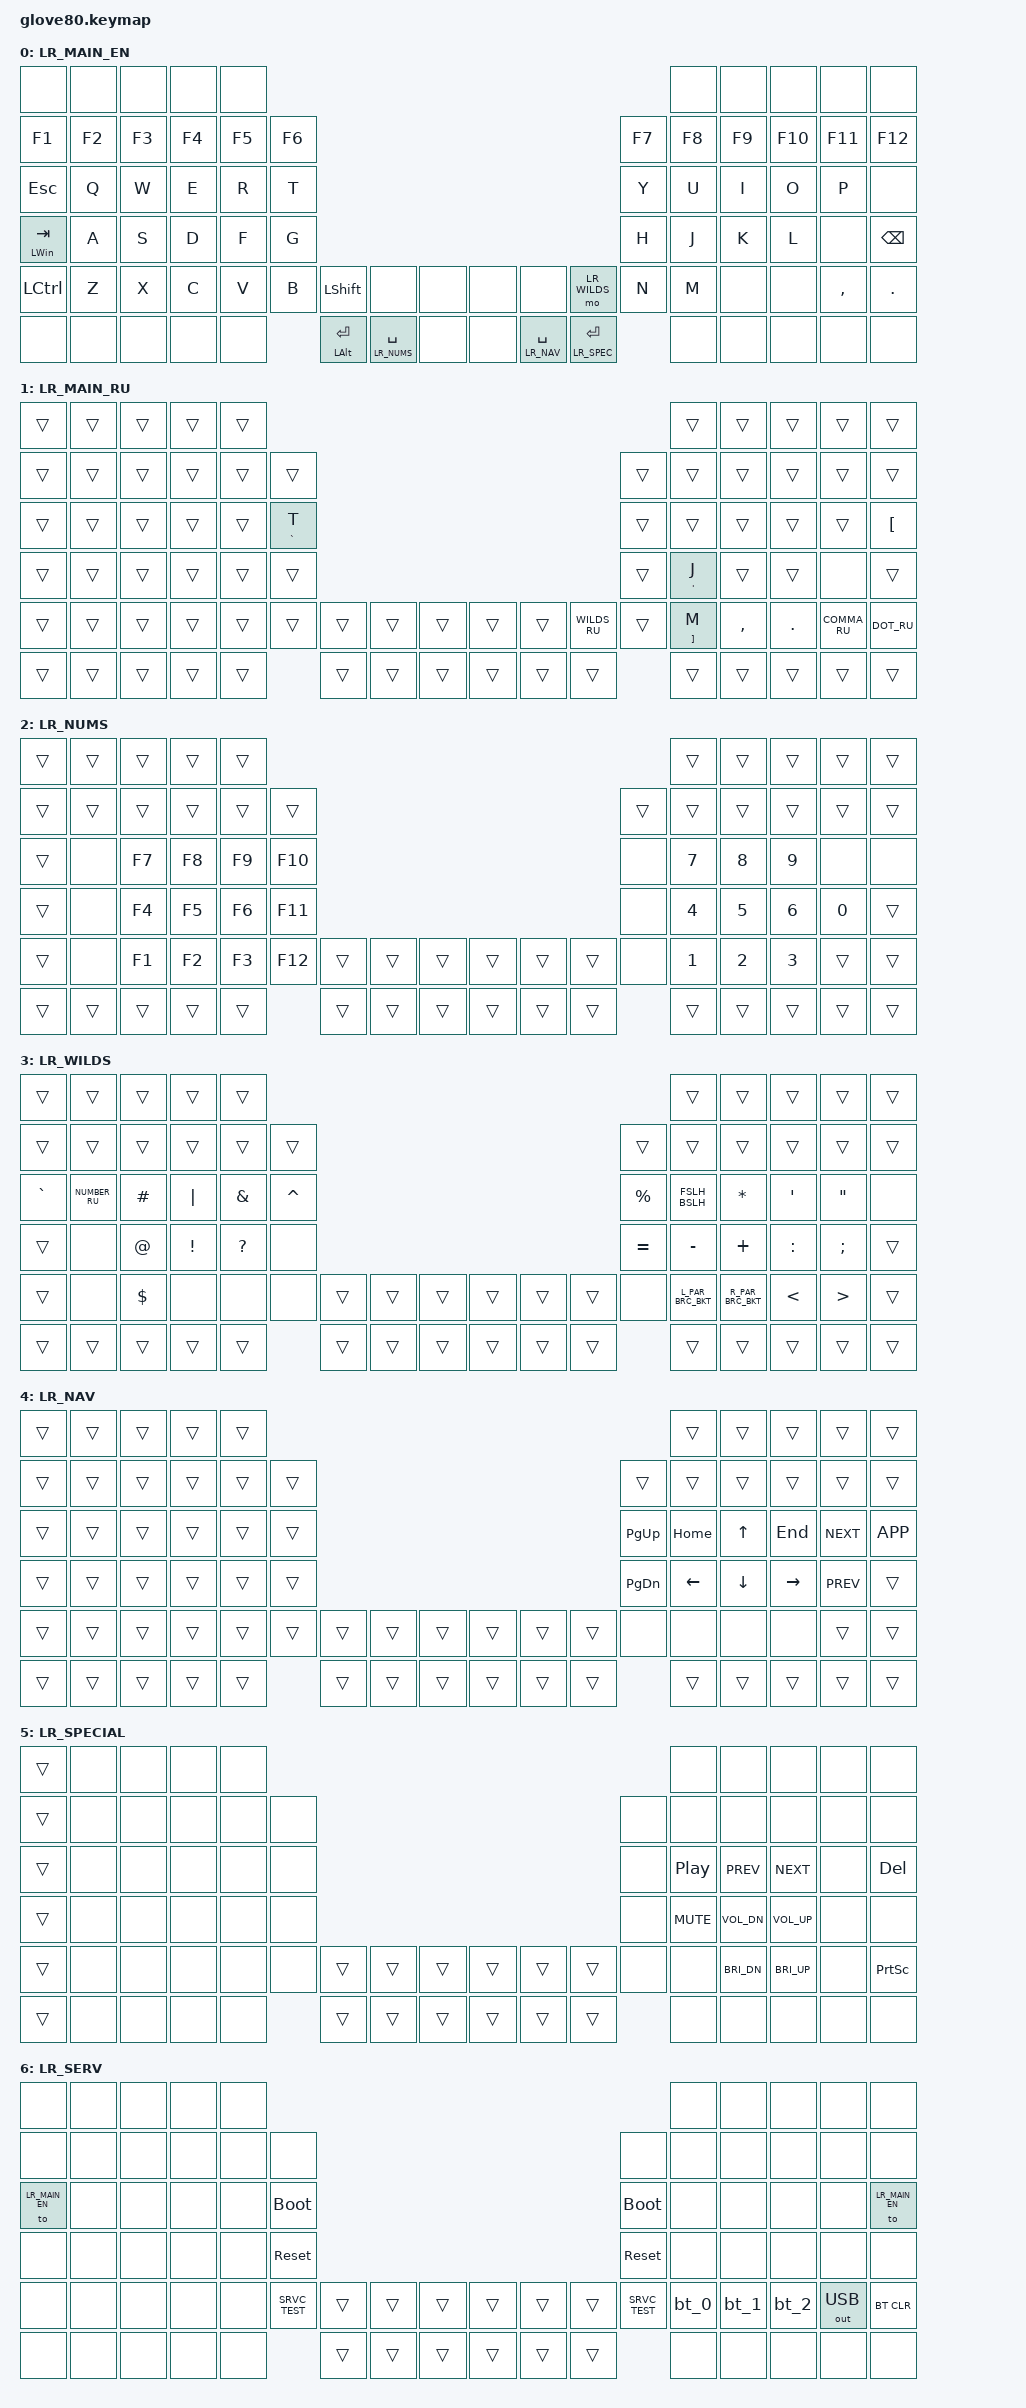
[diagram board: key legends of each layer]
/*
 * Copyright (c) 2020 The ZMK Contributors
 *
 * SPDX-License-Identifier: MIT
 */

#include <behaviors.dtsi>
#include <dt-bindings/zmk/keys.h>
#include <dt-bindings/zmk/bt.h>
#include <dt-bindings/zmk/ext_power.h>
#include <dt-bindings/zmk/outputs.h>

#define HYPER LC(LS(LG(LALT)))

// layers
#define LR_MAIN_EN  0
#define LR_MAIN_RU  1
#define LR_NUMS     2
#define LR_WILDS    3
#define LR_NAV      4
#define LR_SPEC     5
#define LR_SERV     6

/ {
    behaviors {
        // // NOTE: example, "LR_WILDS_WITH 0 TAB". 0 is dummy argument
        // // https://zmk.dev/docs/behaviors/hold-tap#using-different-behavior-types-with-hold-taps
        // LR_WILDS_WITH: LR_WILDS_WITH {
        //     compatible = "zmk,behavior-hold-tap";
        //     label = "LR_WILDS_WITH";
        //     #binding-cells = <2>;
        //     flavor = "hold-preferred";
        //     tapping-term-ms = <150>;
        //     // bindings = <hold>, <tap>;
        //     bindings = <&WILDS_RU>, <&kp>;
        // };

        // cmt - custom mod-tap
        cmt: cmt {
            compatible = "zmk,behavior-hold-tap";
            label = "custom-mod-tap";
            #binding-cells = <2>;
            flavor = "tap-preferred";
            tapping-term-ms = <200>;
            quick-tap-ms = <200>;
            // bindings = <hold>, <tap>;
            bindings = <&kp>, <&kp>;
        };

        EN_RU: EN_RU {
            compatible = "zmk,behavior-mod-morph";
            label = "EN_RU";
            #binding-cells = <0>;
            bindings = <&TO_MAIN_EN>, <&TO_MAIN_RU>;
            mods = <(MOD_LCTL)>;
        };
        
        DOT_RU: DOT_RU {
            compatible = "zmk,behavior-mod-morph";
            label = "DOT_RU";
            #binding-cells = <0>;
            bindings = <&mt DOT FSLH>, <&kp DOT>;
            mods = <(MOD_LCTL|MOD_LALT|MOD_LGUI)>;
            keep-mods = <(MOD_LCTL|MOD_LALT|MOD_LGUI)>;
        };
        
        COMMA_RU: COMMA_RU {
            compatible = "zmk,behavior-mod-morph";
            label = "COMMA_RU";
            #binding-cells = <0>;
            bindings = <&kp LS(FSLH)>, <&kp COMMA>;
            mods = <(MOD_LCTL|MOD_LALT|MOD_LGUI)>;
            keep-mods = <(MOD_LCTL|MOD_LALT|MOD_LGUI)>;
        };
        
        FSLH_BSLH: FSLH_BSLH {
            compatible = "zmk,behavior-mod-morph";
            label = "FSLH_BSLH";
            #binding-cells = <0>;
            bindings = <&kp FSLH>, <&kp BSLH>;
            mods = <(MOD_LSFT)>;
        };
        
        L_PAR_BRC_BKT: L_PAR_BRC_BKT {
            compatible = "zmk,behavior-mod-morph";
            label = "L_PAR_BRC_BKT";
            #binding-cells = <0>;
            bindings = <&kp LPAR>, <&cmt LBKT LBRC>;
            mods = <(MOD_LSFT)>;
        };
        
        R_PAR_BRC_BKT: R_PAR_BRC_BKT {
            compatible = "zmk,behavior-mod-morph";
            label = "R_PAR_BRC_BKT";
            #binding-cells = <0>;
            bindings = <&kp RPAR>, <&cmt RBKT RBRC>;
            mods = <(MOD_LSFT)>;
        };
    };

    macros {
        bt_0: bt_profile_macro_0 {
            label = "BT_0";
            compatible = "zmk,behavior-macro";
            #binding-cells = <0>;
            bindings = 
                <&out OUT_BLE>,
                <&bt BT_SEL 0>;
        };

        bt_1: bt_profile_macro_1 {
            label = "BT_1";
            compatible = "zmk,behavior-macro";
            #binding-cells = <0>;
            bindings =
                <&out OUT_BLE>,
                <&bt BT_SEL 1>;
        };

        bt_2: bt_profile_macro_2 {
            label = "BT_2";
            compatible = "zmk,behavior-macro";
            #binding-cells = <0>;
            bindings =
                <&out OUT_BLE>,
                <&bt BT_SEL 2>;
        };

        bt_3: bt_profile_macro_3 {
            label = "BT_3";
            compatible = "zmk,behavior-macro";
            #binding-cells = <0>;
            bindings =
                <&out OUT_BLE>,
                <&bt BT_SEL 3>;
        };

        LAYOUT_EN: LAYOUT_EN {
            label = "ZM_LAYOUT_EN";
            compatible = "zmk,behavior-macro";
            #binding-cells = <0>;
            wait-ms = <10>;
            tap-ms = <30>;
            bindings =
                <&kp LA(LS(N8))>; // <&kp CAPS>;
        };

        LAYOUT_RU: LAYOUT_RU {
            label = "ZM_LAYOUT_RU";
            compatible = "zmk,behavior-macro";
            #binding-cells = <0>;
            wait-ms = <10>;
            tap-ms = <30>;
            bindings =
                <&kp LA(LS(N9))>; // <&kp LS(CAPS)>;
        };

        TO_MAIN_EN: TO_MAIN_EN {
            label = "ZM_TO_MAIN_EN";
            compatible = "zmk,behavior-macro";
            #binding-cells = <0>;
            wait-ms = <10>;
            tap-ms = <30>;
            bindings =
                <&LAYOUT_EN>,
                <&to LR_MAIN_EN>;
            };

        TO_MAIN_RU: TO_MAIN_RU {
            label = "ZM_TO_MAIN_RU";
            compatible = "zmk,behavior-macro";
            #binding-cells = <0>;
            wait-ms = <10>;
            tap-ms = <30>;
            bindings =
                <&LAYOUT_RU>,
                <&to LR_MAIN_RU>;
        };

        WILDS_RU: WILDS_RU {
            label = "ZM_WILDS_RU";
            compatible = "zmk,behavior-macro";
            #binding-cells = <0>;
            wait-ms = <10>;
            tap-ms = <30>;
            bindings =
                <&LAYOUT_EN>,
                <&to LR_WILDS>,
                <&macro_pause_for_release>,
                <&to LR_MAIN_RU>,
                <&LAYOUT_RU>;
        };

        NUMBER_RU: NUMBER_RU {
            label = "ZM_NUMBER_RU";
            compatible = "zmk,behavior-macro";
            #binding-cells = <0>;
            wait-ms = <10>;
            tap-ms = <30>;
            bindings =
                <&LAYOUT_RU>,
                <&kp LS(N3)>,
                <&LAYOUT_EN>;
        };

        SRVC_TEST: SRVC_TEST {
            label = "ZM_SRVC_TEST";
            compatible = "zmk,behavior-macro";
            #binding-cells = <0>;
            wait-ms = <10>;
            tap-ms = <30>;
            bindings =
                <&kp S>,<&kp E>,<&kp R>,<&kp V>,<&kp I>,<&kp C>,<&kp E>;
        };        
    };

    combos {
        /*
            Indexes start from 0. 
            Indexes by first switch in rows: 0, 10, 22, 34, 46, 64.
        */
        compatible = "zmk,combos";
        // EN/RU layout: K + L
        switch_lang_new {
            timeout-ms = <50>;
            key-positions = <42 43>;
            layers = <LR_MAIN_EN LR_MAIN_RU>; 
            bindings = <&EN_RU>;
        };
        // LR_SERV. Left half: top left (Esc) + all left thumb
        to_serv_left {
            timeout-ms = <100>;
            key-positions = <22 52 69 70>;
            layers = <LR_MAIN_EN LR_MAIN_RU>; 
            bindings = <&to LR_SERV>;
        };
        // LR_SERV. Right half: top right (rus 'Х') + all right thumb
        to_serv_right {
            timeout-ms = <100>;
            key-positions = <33 57 73 74>;
            layers = <LR_MAIN_EN LR_MAIN_RU>; 
            bindings = <&to LR_SERV>;
        };
    };

    keymap {
        compatible = "zmk,keymap";

        /*
            |  F1   |  F2 |  F3 |  F4  |  F5  |                                                                    |  F6   |  F7   |  F8  |   F9  |  F10 |
            |  =    |  1  |  2  |  3   |  4   |  5   |                                                      |  6   |   7   |   8   |  9   |   0   |   -  |
            |  TAB  |  Q  |  W  |  E   |  R   |  T   |                                                      |  Y   |   U   |   I   |  O   |   P   |   \  |
            |  ESC  |  A  |  S  |  D   |  F   |  G   |                                                      |  H   |   J   |   K   |  L   |   ;   |   '  |
            |   `   |  Z  |  X  |  C   |  V   |  B   | LSHFT | LCTRL | LOWER |      | LGUI  | RCTRL | RSHFT |  N   |   M   |   ,   |  .   |   /   | PGUP |
            | MAGIC | HOME| END | LEFT | RIGHT|      | BSPC  | DEL   | LALT  |      | RALT  | RET   | SPACE |      |  UP   | DOWN  |  [   |   ]   | PGDN |
        */

        LR_MAIN_EN {
            bindings = <
                &none          &none    &none    &none    &none                                                                                                                     &none    &none    &none     &none       &none
                &kp F1         &kp F2   &kp F3   &kp F4   &kp F5   &kp F6                                                                                                  &kp F7   &kp F8   &kp F9   &kp F10   &kp F11     &kp F12
                &kp ESC        &kp Q    &kp W    &kp E    &kp R    &kp T                                                                                                   &kp Y    &kp U    &kp I    &kp O     &kp P       &none
                &mt LWIN TAB   &kp A    &kp S    &kp D    &kp F    &kp G                                                                                                   &kp H    &kp J    &kp K    &kp L     &none       &kp BSPC
                &kp LCTRL      &kp Z    &kp X    &kp C    &kp V    &kp B    &kp LSHFT        &none               &none      &none   &none              &mo LR_WILDS        &kp N    &kp M    &none    &none     &kp COMMA   &kp DOT
                &none          &none    &none    &none    &none             &mt LALT ENTER   &lt LR_NUMS SPACE   &none      &none   &lt LR_NAV SPACE   &lt LR_SPEC ENTER            &none    &none    &none     &none       &none
            >;
        };

        LR_MAIN_RU {
            bindings = <
                &trans   &trans   &trans   &trans   &trans                                                                                       &trans        &trans      &trans    &trans      &trans
                &trans   &trans   &trans   &trans   &trans   &trans                                                                     &trans   &trans        &trans      &trans    &trans      &trans
                &trans   &trans   &trans   &trans   &trans   &cmt GRAVE T                                                               &trans   &trans        &trans      &trans    &trans      &kp LBKT
                &trans   &trans   &trans   &trans   &trans   &trans                                                                     &trans   &cmt SQT J    &trans      &trans    &none       &trans
                &trans   &trans   &trans   &trans   &trans   &trans         &trans   &trans   &trans      &trans   &trans   &WILDS_RU   &trans   &cmt RBKT M   &kp COMMA   &kp DOT   &COMMA_RU   &DOT_RU
                &trans   &trans   &trans   &trans   &trans                  &trans   &trans   &trans      &trans   &trans   &trans               &trans        &trans      &trans    &trans      &trans
            >;
        };

        LR_NUMS {
            bindings = <
                &trans   &trans   &trans   &trans   &trans                                                                               &trans   &trans   &trans   &trans   &trans
                &trans   &trans   &trans   &trans   &trans   &trans                                                             &trans   &trans   &trans   &trans   &trans   &trans
                &trans   &none    &kp F7   &kp F8   &kp F9   &kp F10                                                            &none    &kp N7   &kp N8   &kp N9   &none    &none
                &trans   &none    &kp F4   &kp F5   &kp F6   &kp F11                                                            &none    &kp N4   &kp N5   &kp N6   &kp N0   &trans
                &trans   &none    &kp F1   &kp F2   &kp F3   &kp F12   &trans   &trans   &trans      &trans   &trans   &trans   &none    &kp N1   &kp N2   &kp N3   &trans   &trans
                &trans   &trans   &trans   &trans   &trans             &trans   &trans   &trans      &trans   &trans   &trans            &trans   &trans   &trans   &trans   &trans
            >;
        };

        LR_WILDS {
            bindings = <
                &trans      &trans       &trans     &trans     &trans                                                                                       &trans           &trans           &trans      &trans     &trans
                &trans      &trans       &trans     &trans     &trans      &trans                                                               &trans      &trans           &trans           &trans      &trans     &trans
                &kp GRAVE   &NUMBER_RU   &kp HASH   &kp PIPE   &kp AMPS    &kp CARET                                                            &kp PRCNT   &FSLH_BSLH       &kp ASTRK        &kp SQT     &kp DQT    &none
                &trans      &none        &kp AT     &kp EXCL   &kp QMARK   &none                                                                &kp EQUAL   &kp MINUS        &kp PLUS         &kp COLON   &kp SEMI   &trans
                &trans      &none        &kp DLLR   &none      &none       &none       &trans   &trans   &trans      &trans   &trans   &trans   &none       &L_PAR_BRC_BKT   &R_PAR_BRC_BKT   &kp LT      &kp GT     &trans
                &trans      &trans       &trans     &trans     &trans                  &trans   &trans   &trans      &trans   &trans   &trans               &trans           &trans           &trans      &trans     &trans
            >;
        };

        LR_NAV {
            bindings = <
                &trans   &trans   &trans   &trans   &trans                                                                                 &trans     &trans     &trans      &trans       &trans
                &trans   &trans   &trans   &trans   &trans   &trans                                                            &trans      &trans     &trans     &trans      &trans       &trans
                &trans   &trans   &trans   &trans   &trans   &trans                                                            &kp PG_UP   &kp HOME   &kp UP     &kp END     &kp C_NEXT   &kp K_APP
                &trans   &trans   &trans   &trans   &trans   &trans                                                            &kp PG_DN   &kp LEFT   &kp DOWN   &kp RIGHT   &kp C_PREV   &trans
                &trans   &trans   &trans   &trans   &trans   &trans   &trans   &trans   &trans      &trans   &trans   &trans   &none       &none      &none      &none       &trans       &trans
                &trans   &trans   &trans   &trans   &trans            &trans   &trans   &trans      &trans   &trans   &trans               &trans     &trans     &trans      &trans       &trans
            >;
        };
        
        LR_SPECIAL {
            bindings = <
                &trans   &none   &none   &none   &none                                                                            &none        &none          &none          &none   &none
                &trans   &none   &none   &none   &none   &none                                                            &none   &none        &none          &none          &none   &none
                &trans   &none   &none   &none   &none   &none                                                            &none   &kp C_PP     &kp C_PREV     &kp C_NEXT     &none   &kp DEL
                &trans   &none   &none   &none   &none   &none                                                            &none   &kp C_MUTE   &kp C_VOL_DN   &kp C_VOL_UP   &none   &none
                &trans   &none   &none   &none   &none   &none   &trans   &trans   &trans      &trans   &trans   &trans   &none   &none        &kp C_BRI_DN   &kp C_BRI_UP   &none   &kp PSCRN
                &trans   &none   &none   &none   &none           &trans   &trans   &trans      &trans   &trans   &trans           &none        &none          &none          &none   &none
            >;
        };

        LR_SERV {
            bindings = <
                &none            &none   &none   &none   &none                                                                                        &none   &none   &none   &none          &none
                &none            &none   &none   &none   &none   &none                                                                  &none         &none   &none   &none   &none          &none
                &to LR_MAIN_EN   &none   &none   &none   &none   &bootloader                                                            &bootloader   &none   &none   &none   &none          &to LR_MAIN_EN
                &none            &none   &none   &none   &none   &sys_reset                                                             &sys_reset    &none   &none   &none   &none          &none
                &none            &none   &none   &none   &none   &SRVC_TEST    &trans   &trans   &trans      &trans   &trans   &trans   &SRVC_TEST    &bt_0   &bt_1   &bt_2   &out OUT_USB   &bt BT_CLR
                &none            &none   &none   &none   &none                 &trans   &trans   &trans      &trans   &trans   &trans                 &none   &none   &none   &none          &none
            >;
        };
    };
};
